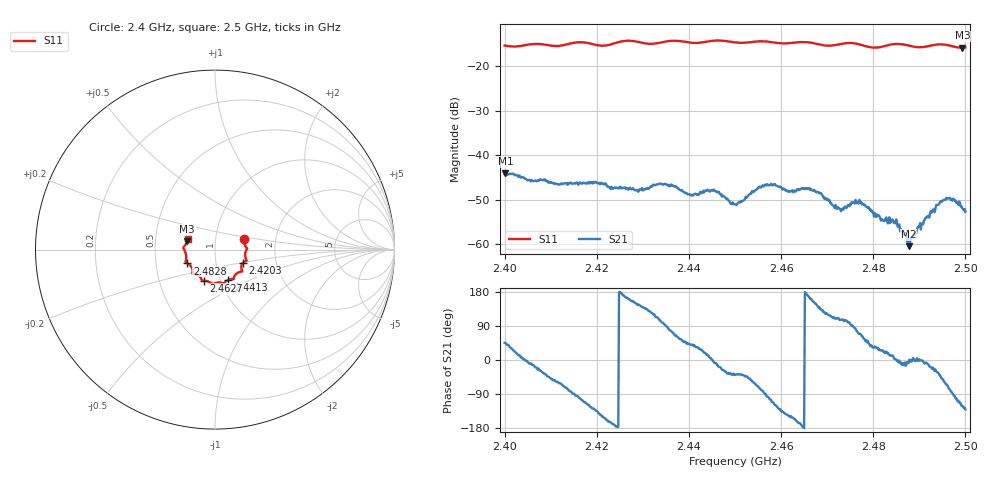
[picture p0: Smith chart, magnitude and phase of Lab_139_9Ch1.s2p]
# Hz S RI R 50
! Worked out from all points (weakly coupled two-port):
!   601 points, 2.4 GHz to 2.5 GHz, reference 50 ohm
!   highest |S21| = -44.00 dB at 2.4002 GHz (marker M1); lowest = -60.4 dB at 2.4877 GHz (marker M2)
!   lowest |S11| = -15.8 dB at 2.4993 GHz (marker M3), VSWR 1.39, Z = 36.5 + j3.6 ohm
!   |S11| at or under -10 dB: start of sweep to end of sweep
!   S12 and S22 are empty: the file has one direction only
!   S11 on the Smith chart (normalised r, x): 2.4 GHz: 1.37, +0.16; 2.4203 GHz: 1.35, -0.20; 2.4413 GHz: 1.09, -0.38; 2.4627 GHz: 0.83, -0.30; 2.4828 GHz: 0.73, -0.12; 2.5 GHz: 0.73, +0.09
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2.4e9  0.1615 0.0582  0.00432 0.00434  0 0  0 0
2.400167e9  0.1617 0.0567  0.00442 0.0045  0 0  0 0
2.416667e9  0.1763 -0.0622  -0.00124 -0.00469  0 0  0 0
2.420333e9  0.1562 -0.0732  -0.00371 -0.00315  0 0  0 0
2.428667e9  0.1449 -0.1229  -0.00346 0.00212  0 0  0 0
2.433333e9  0.1076 -0.1479  -0.00159 0.00445  0 0  0 0
2.441333e9  0.0751 -0.1674  0.00298 0.00216  0 0  0 0
2.4455e9  0.0507 -0.1879  0.00404 -0.000507  0 0  0 0
2.45e9  0.0302 -0.1839  0.00218 -0.00178  0 0  0 0
2.4565e9  -0.0145 -0.1905  3.5e-05 -0.00467  0 0  0 0
2.462667e9  -0.0615 -0.174  -0.00342 -0.00173  0 0  0 0
2.466667e9  -0.0745 -0.1682  -0.00378 0.00149  0 0  0 0
2.4725e9  -0.1144 -0.1341  -0.000874 0.00241  0 0  0 0
2.477167e9  -0.1247 -0.124  0.00107 0.00277  0 0  0 0
2.482833e9  -0.1532 -0.0768  0.00186 0.000746  0 0  0 0
2.483333e9  -0.1568 -0.0751  0.0017 0.000462  0 0  0 0
2.485167e9  -0.1643 -0.0709  0.0017 -4.69e-05  0 0  0 0
2.487667e9  -0.1617 -0.0569  0.000942 -0.000136  0 0  0 0
2.495e9  -0.1761 0.0113  0.00198 -0.00231  0 0  0 0
2.497e9  -0.1677 0.0226  0.000327 -0.0032  0 0  0 0
2.499333e9  -0.1544 0.0481  -0.0013 -0.00219  0 0  0 0
2.5e9  -0.1523 0.0572  -0.00151 -0.00177  0 0  0 0
